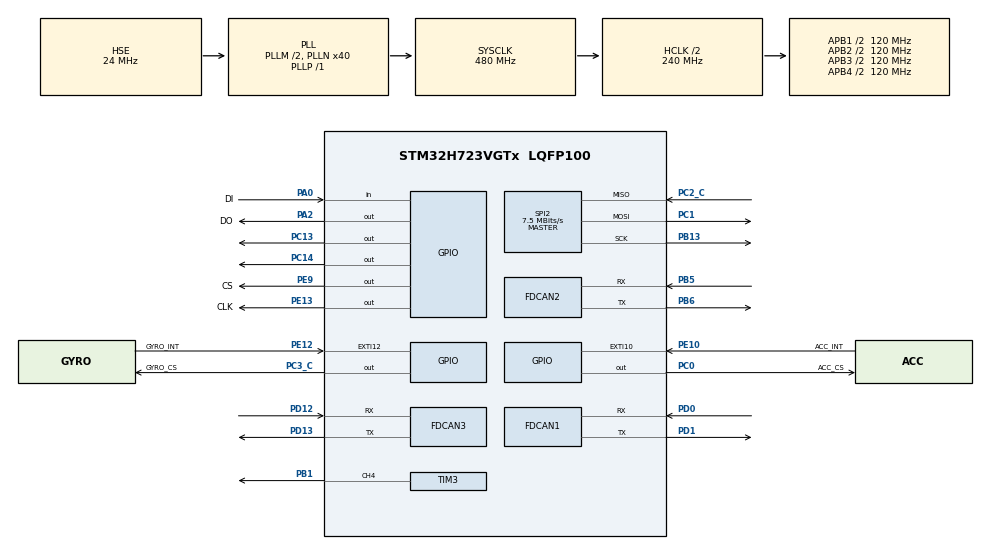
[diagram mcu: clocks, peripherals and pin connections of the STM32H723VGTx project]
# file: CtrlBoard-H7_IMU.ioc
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Dma.Request0=SPI2_RX
Dma.Request1=SPI2_TX
Dma.SPI2_RX.0.Direction=DMA_PERIPH_TO_MEMORY
Dma.SPI2_RX.0.EventEnable=DISABLE
Dma.SPI2_RX.0.FIFOMode=DMA_FIFOMODE_DISABLE
Dma.SPI2_RX.0.Instance=DMA1_Stream0
Dma.SPI2_RX.0.MemDataAlignment=DMA_MDATAALIGN_BYTE
Dma.SPI2_RX.0.MemInc=DMA_MINC_ENABLE
Dma.SPI2_RX.0.Mode=DMA_NORMAL
Dma.SPI2_RX.0.PeriphDataAlignment=DMA_PDATAALIGN_BYTE
Dma.SPI2_RX.0.PeriphInc=DMA_PINC_DISABLE
Dma.SPI2_RX.0.Polarity=HAL_DMAMUX_REQ_GEN_RISING
Dma.SPI2_RX.0.Priority=DMA_PRIORITY_VERY_HIGH
Dma.SPI2_RX.0.RequestNumber=1
Dma.SPI2_RX.0.SignalID=NONE
Dma.SPI2_RX.0.SyncEnable=DISABLE
Dma.SPI2_RX.0.SyncPolarity=HAL_DMAMUX_SYNC_NO_EVENT
Dma.SPI2_RX.0.SyncRequestNumber=1
Dma.SPI2_RX.0.SyncSignalID=NONE
Dma.SPI2_TX.1.Direction=DMA_MEMORY_TO_PERIPH
Dma.SPI2_TX.1.EventEnable=DISABLE
Dma.SPI2_TX.1.FIFOMode=DMA_FIFOMODE_DISABLE
Dma.SPI2_TX.1.Instance=DMA1_Stream1
Dma.SPI2_TX.1.MemDataAlignment=DMA_MDATAALIGN_BYTE
Dma.SPI2_TX.1.MemInc=DMA_MINC_ENABLE
Dma.SPI2_TX.1.Mode=DMA_NORMAL
Dma.SPI2_TX.1.PeriphDataAlignment=DMA_PDATAALIGN_BYTE
Dma.SPI2_TX.1.PeriphInc=DMA_PINC_DISABLE
Dma.SPI2_TX.1.Polarity=HAL_DMAMUX_REQ_GEN_RISING
Dma.SPI2_TX.1.Priority=DMA_PRIORITY_HIGH
Dma.SPI2_TX.1.RequestNumber=1
Dma.SPI2_TX.1.SignalID=NONE
Dma.SPI2_TX.1.SyncEnable=DISABLE
Dma.SPI2_TX.1.SyncPolarity=HAL_DMAMUX_SYNC_NO_EVENT
Dma.SPI2_TX.1.SyncRequestNumber=1
Dma.SPI2_TX.1.SyncSignalID=NONE
FDCAN1.CalculateBaudRateNominal=1000000
FDCAN1.CalculateTimeBitNominal=1000
FDCAN1.CalculateTimeQuantumNominal=40.0
FDCAN1.DataPrescaler=4
FDCAN1.DataTimeSeg1=19
FDCAN1.DataTimeSeg2=5
FDCAN1.ExtFiltersNbr=5
FDCAN1.NominalPrescaler=4
FDCAN1.NominalTimeSeg1=19
FDCAN1.NominalTimeSeg2=5
FDCAN1.RxFifo0ElmtSize=FDCAN_DATA_BYTES_24
FDCAN1.RxFifo0ElmtsNbr=4
FDCAN1.RxFifo1ElmtSize=FDCAN_DATA_BYTES_24
FDCAN1.StdFiltersNbr=5
FDCAN1.TxElmtSize=FDCAN_DATA_BYTES_24
FDCAN1.TxFifoQueueElmtsNbr=8
FDCAN2.CalculateBaudRateNominal=1000000
FDCAN2.CalculateTimeBitNominal=1000
FDCAN2.CalculateTimeQuantumNominal=50.0
FDCAN2.DataPrescaler=5
FDCAN2.DataTimeSeg1=14
FDCAN2.DataTimeSeg2=5
FDCAN2.ExtFiltersNbr=5
FDCAN2.MessageRAMOffset=854
FDCAN2.NominalPrescaler=5
FDCAN2.NominalTimeSeg1=14
FDCAN2.NominalTimeSeg2=5
FDCAN2.RxFifo1ElmtSize=FDCAN_DATA_BYTES_24
FDCAN2.RxFifo1ElmtsNbr=4
FDCAN2.StdFiltersNbr=5
FDCAN2.TxElmtSize=FDCAN_DATA_BYTES_16
FDCAN2.TxFifoQueueElmtsNbr=4
FDCAN3.CalculateBaudRateNominal=1000000
FDCAN3.CalculateTimeBitNominal=1000
FDCAN3.CalculateTimeQuantumNominal=50.0
FDCAN3.DataPrescaler=5
FDCAN3.DataTimeSeg1=14
FDCAN3.DataTimeSeg2=5
FDCAN3.ExtFiltersNbr=5
FDCAN3.MessageRAMOffset=1709
FDCAN3.NominalPrescaler=5
FDCAN3.NominalTimeSeg1=14
FDCAN3.NominalTimeSeg2=5
FDCAN3.RxFifo0ElmtsNbr=2
FDCAN3.StdFiltersNbr=5
FDCAN3.TxFifoQueueElmtsNbr=3
FREERTOS.MEMORY_ALLOCATION=0
FREERTOS.Tasks01=defaultTask,0,128,StartDefaultTask,Default,NULL,Dynamic,NULL,NULL;INS_TASK,3,512,INS_Task,Default,NULL,Dynamic,NULL,NULL;CHASSISR_TASK,1,512,ChassisR_Task,Default,NULL,Dynamic,NULL,NULL;CHASSISL_TASK,1,512,ChassisL_Task,Default,NULL,Dynamic,NULL,NULL;OBSERVE_TASK,2,512,OBSERVE_Task,Default,NULL,Dynamic,NULL,NULL;PS2_TASK,1,128,PS2_Task,Default,NULL,Dynamic,NULL,NULL
FREERTOS.configENABLE_FPU=1
FREERTOS.configTOTAL_HEAP_SIZE=30720
Mcu.Family=STM32H7
Mcu.Name=STM32H723VGTx
Mcu.Package=LQFP100
NVIC.DMA1_Stream0_IRQn=true\:6\:0\:true\:false\:true\:true\:false\:true\:true
NVIC.DMA1_Stream1_IRQn=true\:6\:0\:true\:false\:true\:true\:false\:true\:true
NVIC.FDCAN1_IT0_IRQn=true\:6\:0\:true\:false\:true\:true\:true\:true\:true
NVIC.FDCAN2_IT0_IRQn=true\:5\:0\:true\:false\:true\:true\:true\:true\:true
NVIC.FDCAN3_IT0_IRQn=true\:5\:0\:false\:false\:true\:true\:true\:true\:true
NVIC.PriorityGroup=NVIC_PRIORITYGROUP_4
NVIC.SPI2_IRQn=true\:5\:0\:true\:false\:true\:true\:false\:true\:true
NVIC.TIM2_IRQn=true\:15\:0\:false\:false\:true\:false\:false\:true\:true
NVIC.TimeBase=TIM2_IRQn
NVIC.TimeBaseIP=TIM2
PA0.GPIO_Label=DI
PA0.GPIO_PuPd=GPIO_PULLUP
PA0.Signal=GPIO_Input
PA13(JTMS/SWDIO).Mode=Serial_Wire
PA13(JTMS/SWDIO).Signal=DEBUG_JTMS-SWDIO
PA14(JTCK/SWCLK).Mode=Serial_Wire
PA14(JTCK/SWCLK).Signal=DEBUG_JTCK-SWCLK
PA2.GPIO_Label=DO
PA2.GPIO_PuPd=GPIO_PULLUP
PA2.GPIO_Speed=GPIO_SPEED_FREQ_VERY_HIGH
PA2.PinState=GPIO_PIN_SET
PA2.Signal=GPIO_Output
PB1.Signal=S_TIM3_CH4
PB13.GPIO_Speed=GPIO_SPEED_FREQ_VERY_HIGH
PB13.Mode=Full_Duplex_Master
PB13.Signal=SPI2_SCK
PB5.Mode=FDCAN_Activate
PB5.Signal=FDCAN2_RX
PB6.Mode=FDCAN_Activate
PB6.Signal=FDCAN2_TX
PC0.GPIO_Label=ACC_CS
PC0.GPIO_Speed=GPIO_SPEED_FREQ_VERY_HIGH
PC0.PinState=GPIO_PIN_SET
PC0.Signal=GPIO_Output
PC1.GPIO_Speed=GPIO_SPEED_FREQ_VERY_HIGH
PC1.Mode=Full_Duplex_Master
PC1.Signal=SPI2_MOSI
PC13.Signal=GPIO_Output
PC14-OSC32_IN.Signal=GPIO_Output
PC2_C.GPIO_Speed=GPIO_SPEED_FREQ_VERY_HIGH
PC2_C.Mode=Full_Duplex_Master
PC2_C.Signal=SPI2_MISO
PC3_C.GPIO_Label=GYRO_CS
PC3_C.GPIO_Speed=GPIO_SPEED_FREQ_VERY_HIGH
PC3_C.PinState=GPIO_PIN_SET
PC3_C.Signal=GPIO_Output
PD0.Mode=FDCAN_Activate
PD0.Signal=FDCAN1_RX
PD1.Mode=FDCAN_Activate
PD1.Signal=FDCAN1_TX
PD12.Mode=FDCAN_Activate
PD12.Signal=FDCAN3_RX
PD13.Mode=FDCAN_Activate
PD13.Signal=FDCAN3_TX
PE10.GPIO_Label=ACC_INT
PE10.Signal=GPXTI10
PE12.GPIO_Label=GYRO_INT
PE12.Signal=GPXTI12
PE13.GPIO_Label=CLK
PE13.GPIO_PuPd=GPIO_PULLUP
PE13.GPIO_Speed=GPIO_SPEED_FREQ_VERY_HIGH
PE13.PinState=GPIO_PIN_SET
PE13.Signal=GPIO_Output
PE9.GPIO_Label=CS
PE9.GPIO_PuPd=GPIO_PULLUP
PE9.GPIO_Speed=GPIO_SPEED_FREQ_VERY_HIGH
PE9.PinState=GPIO_PIN_SET
PE9.Signal=GPIO_Output
PH0-OSC_IN.Mode=HSE-External-Oscillator
PH0-OSC_IN.Signal=RCC_OSC_IN
PH1-OSC_OUT.Mode=HSE-External-Oscillator
PH1-OSC_OUT.Signal=RCC_OSC_OUT
ProjectManager.HeapSize=0x200
ProjectManager.StackSize=0x800
ProjectManager.TargetToolchain=STM32CubeIDE
RCC.ADCFreq_Value=100000000
RCC.APB1Freq_Value=120000000
RCC.APB2Freq_Value=120000000
RCC.APB3Freq_Value=120000000
RCC.APB4Freq_Value=120000000
RCC.CortexFreq_Value=480000000
RCC.D1PPRE=RCC_APB3_DIV2
RCC.D2PPRE1=RCC_APB1_DIV2
RCC.D2PPRE2=RCC_APB2_DIV2
RCC.D3PPRE=RCC_APB4_DIV2
RCC.DIVM1=2
RCC.DIVM2=24
RCC.DIVN1=40
RCC.DIVN2=200
RCC.DIVP1=1
RCC.FDCANCLockSelection=RCC_FDCANCLKSOURCE_PLL2
RCC.HCLKFreq_Value=240000000
RCC.HPRE=RCC_HCLK_DIV2
RCC.HSE_VALUE=24000000
RCC.PLL2FRACN=0
RCC.PLL3FRACN=0
RCC.PLLFRACN=0
RCC.PLLSourceVirtual=RCC_PLLSOURCE_HSE
RCC.SYSCLKFreq_VALUE=480000000
RCC.SYSCLKSource=RCC_SYSCLKSOURCE_PLLCLK
RCC.USBFreq_Value=240000000
SH.S_TIM3_CH4.0=TIM3_CH4,PWM Generation4 CH4
SPI2.BaudRatePrescaler=SPI_BAUDRATEPRESCALER_32
SPI2.CLKPhase=SPI_PHASE_2EDGE
SPI2.CLKPolarity=SPI_POLARITY_HIGH
SPI2.CalculateBaudRate=7.5 MBits/s
SPI2.DataSize=SPI_DATASIZE_8BIT
SPI2.Direction=SPI_DIRECTION_2LINES
SPI2.Mode=SPI_MODE_MASTER
SPI2.VirtualType=VM_MASTER
TIM3.AutoReloadPreload=TIM_AUTORELOAD_PRELOAD_ENABLE
TIM3.Channel-PWM\ Generation4\ CH4=TIM_CHANNEL_4
TIM3.Period=10000-1
TIM3.Prescaler=24-1
VP_FREERTOS_VS_CMSIS_V1.Mode=CMSIS_V1
VP_SYS_VS_tim2.Mode=TIM2
board=custom

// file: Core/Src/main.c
/* USER CODE BEGIN Header */
/**
  ******************************************************************************
  * @file           : main.c
  * @brief          : Main program body
  ******************************************************************************
  * @attention
  *
  * Copyright (c) 2024 STMicroelectronics.
  * All rights reserved.
  *
  * This software is licensed under terms that can be found in the LICENSE file
  * in the root directory of this software component.
  * If no LICENSE file comes with this software, it is provided AS-IS.
  *
  ******************************************************************************
  */
/* USER CODE END Header */
#include "main.h"
#include "cmsis_os.h"
#include "dma.h"
#include "fdcan.h"
#include "spi.h"
#include "tim.h"
#include "gpio.h"

/* USER CODE BEGIN Includes */
#include "BMI088driver.h"
#include "kalman_filter.h"
#include "mahony_filter.h"
#include "bsp_dwt.h"
#include "BMI088Middleware.h"
#include "can_bsp.h"
/* USER CODE END Includes */

void SystemClock_Config(void);
void PeriphCommonClock_Config(void);
void MX_FREERTOS_Init(void);

int main(void)
{

  /* MCU Configuration--------------------------------------------------------*/

  /* Reset of all peripherals, Initializes the Flash interface and the Systick. */
  HAL_Init();

  /* Configure the system clock */
  SystemClock_Config();

/* Configure the peripherals common clocks */
  PeriphCommonClock_Config();

  /* Initialize all configured peripherals */
  MX_GPIO_Init();
  MX_DMA_Init();
  MX_SPI2_Init();
  MX_FDCAN1_Init();
  MX_FDCAN2_Init();
  MX_TIM3_Init();
  MX_FDCAN3_Init();
  /* USER CODE BEGIN 2 */
    DWT_Init(480);

    /* BMI088初始化 *///之前已经对角速度和加速度的零飘校准过了，所以之后上电就不需要校准。如果硬件设备更换，则需要重新校准下
    while (BMI088_init(&hspi2, 0) != BMI088_NO_ERROR)
    {
        ;
    }
    Power_OUT1_ON;//imu初始化完成，可控电源打开，led灯亮
    Power_OUT2_ON;

    FDCAN1_Config();//can过滤器初始化
    FDCAN2_Config();
  /* USER CODE END 2 */

  /* Call init function for freertos objects (in freertos.c) */
  MX_FREERTOS_Init();

  /* Start scheduler */
  osKernelStart();

  /* We should never get here as control is now taken by the scheduler */
  /* Infinite loop */
  while (1)
  {

  }
}

void SystemClock_Config(void)
{
  RCC_OscInitTypeDef RCC_OscInitStruct = {0};
  RCC_ClkInitTypeDef RCC_ClkInitStruct = {0};

  /** Supply configuration update enable
  */
  HAL_PWREx_ConfigSupply(PWR_LDO_SUPPLY);

  /** Configure the main internal regulator output voltage
  */
  __HAL_PWR_VOLTAGESCALING_CONFIG(PWR_REGULATOR_VOLTAGE_SCALE0);

  while(!__HAL_PWR_GET_FLAG(PWR_FLAG_VOSRDY)) {}

  /** Initializes the RCC Oscillators according to the specified parameters
  * in the RCC_OscInitTypeDef structure.
  */
  RCC_OscInitStruct.OscillatorType = RCC_OSCILLATORTYPE_HSE;
  RCC_OscInitStruct.HSEState = RCC_HSE_ON;
  RCC_OscInitStruct.PLL.PLLState = RCC_PLL_ON;
  RCC_OscInitStruct.PLL.PLLSource = RCC_PLLSOURCE_HSE;
  RCC_OscInitStruct.PLL.PLLM = 2;
  RCC_OscInitStruct.PLL.PLLN = 40;
  RCC_OscInitStruct.PLL.PLLP = 1;
  RCC_OscInitStruct.PLL.PLLQ = 2;
  RCC_OscInitStruct.PLL.PLLR = 2;
  RCC_OscInitStruct.PLL.PLLRGE = RCC_PLL1VCIRANGE_3;
  RCC_OscInitStruct.PLL.PLLVCOSEL = RCC_PLL1VCOWIDE;
  RCC_OscInitStruct.PLL.PLLFRACN = 0;
  if (HAL_RCC_OscConfig(&RCC_OscInitStruct) != HAL_OK)
  {
    Error_Handler();
  }

  /** Initializes the CPU, AHB and APB buses clocks
  */
  RCC_ClkInitStruct.ClockType = RCC_CLOCKTYPE_HCLK|RCC_CLOCKTYPE_SYSCLK
                              |RCC_CLOCKTYPE_PCLK1|RCC_CLOCKTYPE_PCLK2
                              |RCC_CLOCKTYPE_D3PCLK1|RCC_CLOCKTYPE_D1PCLK1;
  RCC_ClkInitStruct.SYSCLKSource = RCC_SYSCLKSOURCE_PLLCLK;
  RCC_ClkInitStruct.SYSCLKDivider = RCC_SYSCLK_DIV1;
  RCC_ClkInitStruct.AHBCLKDivider = RCC_HCLK_DIV2;
  RCC_ClkInitStruct.APB3CLKDivider = RCC_APB3_DIV2;
  RCC_ClkInitStruct.APB1CLKDivider = RCC_APB1_DIV2;
  RCC_ClkInitStruct.APB2CLKDivider = RCC_APB2_DIV2;
  RCC_ClkInitStruct.APB4CLKDivider = RCC_APB4_DIV2;

  if (HAL_RCC_ClockConfig(&RCC_ClkInitStruct, FLASH_LATENCY_3) != HAL_OK)
  {
    Error_Handler();
  }
}

void PeriphCommonClock_Config(void)
{
  RCC_PeriphCLKInitTypeDef PeriphClkInitStruct = {0};

  /** Initializes the peripherals clock
  */
  PeriphClkInitStruct.PeriphClockSelection = RCC_PERIPHCLK_FDCAN;
  PeriphClkInitStruct.PLL2.PLL2M = 24;
  PeriphClkInitStruct.PLL2.PLL2N = 200;
  PeriphClkInitStruct.PLL2.PLL2P = 2;
  PeriphClkInitStruct.PLL2.PLL2Q = 2;
  PeriphClkInitStruct.PLL2.PLL2R = 2;
  PeriphClkInitStruct.PLL2.PLL2RGE = RCC_PLL2VCIRANGE_0;
  PeriphClkInitStruct.PLL2.PLL2VCOSEL = RCC_PLL2VCOMEDIUM;
  PeriphClkInitStruct.PLL2.PLL2FRACN = 0;
  PeriphClkInitStruct.FdcanClockSelection = RCC_FDCANCLKSOURCE_PLL2;
  if (HAL_RCCEx_PeriphCLKConfig(&PeriphClkInitStruct) != HAL_OK)
  {
    Error_Handler();
  }
}

void HAL_TIM_PeriodElapsedCallback(TIM_HandleTypeDef *htim)
{
  if (htim->Instance == TIM2) {
    HAL_IncTick();
  }
}

void Error_Handler(void)
{
  __disable_irq();
  while (1)
  {
  }
}

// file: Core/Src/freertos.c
/* USER CODE BEGIN Header */
/**
  ******************************************************************************
  * File Name          : freertos.c
  * Description        : Code for freertos applications
  ******************************************************************************
  * @attention
  *
  * Copyright (c) 2024 STMicroelectronics.
  * All rights reserved.
  *
  * This software is licensed under terms that can be found in the LICENSE file
  * in the root directory of this software component.
  * If no LICENSE file comes with this software, it is provided AS-IS.
  *
  ******************************************************************************
  */
/* USER CODE END Header */

#include "FreeRTOS.h"
#include "task.h"
#include "main.h"
#include "cmsis_os.h"

/* USER CODE BEGIN Includes */
#include "INS_task.h"
#include "chassisR_task.h"
#include "chassisL_task.h"
#include "observe_task.h"
#include "ps2_task.h"
#include "Extended_PID.h"
/* USER CODE END Includes */

/* USER CODE BEGIN Variables */
osThreadId ExtendedPIDTaskHandle;
/* USER CODE END Variables */
osThreadId defaultTaskHandle;
osThreadId INS_TASKHandle;
osThreadId CHASSISR_TASKHandle;
osThreadId CHASSISL_TASKHandle;
osThreadId OBSERVE_TASKHandle;
osThreadId PS2_TASKHandle;

/* USER CODE BEGIN FunctionPrototypes */
void ExtendedPID_Task(void const * argument);
/* USER CODE END FunctionPrototypes */

void StartDefaultTask(void const * argument);
void INS_Task(void const * argument);
void ChassisR_Task(void const * argument);
void ChassisL_Task(void const * argument);
void OBSERVE_Task(void const * argument);
void PS2_Task(void const * argument);

void MX_FREERTOS_Init(void); /* (MISRA C 2004 rule 8.1) */

void MX_FREERTOS_Init(void) {

    /* Create the thread(s) */
    /* definition and creation of defaultTask */
    osThreadDef(defaultTask, StartDefaultTask, osPriorityNormal, 0, 128);
    defaultTaskHandle = osThreadCreate(osThread(defaultTask), NULL);

    /* definition and creation of INS_TASK */
    osThreadDef(INS_TASK, INS_Task, osPriorityRealtime, 0, 512);
    INS_TASKHandle = osThreadCreate(osThread(INS_TASK), NULL);

    /* definition and creation of CHASSISR_TASK */
    // osThreadDef(CHASSISR_TASK, ChassisR_Task, osPriorityAboveNormal, 0, 512);
    // CHASSISR_TASKHandle = osThreadCreate(osThread(CHASSISR_TASK), NULL);

    /* definition and creation of CHASSISL_TASK */
    // osThreadDef(CHASSISL_TASK, ChassisL_Task, osPriorityAboveNormal, 0, 512);
    // CHASSISL_TASKHandle = osThreadCreate(osThread(CHASSISL_TASK), NULL);

    /* definition and creation of OBSERVE_TASK */
    // osThreadDef(OBSERVE_TASK, OBSERVE_Task, osPriorityHigh, 0, 512);
    // OBSERVE_TASKHandle = osThreadCreate(osThread(OBSERVE_TASK), NULL);

    /* definition and creation of PS2_TASK */
    // osThreadDef(PS2_TASK, PS2_Task, osPriorityAboveNormal, 0, 128);
    // PS2_TASKHandle = osThreadCreate(osThread(PS2_TASK), NULL);

    /* USER CODE BEGIN RTOS_THREADS */
    /* add threads, ... */
    osThreadDef(ExtendedPID_TASK, ExtendedPID_Task, osPriorityAboveNormal, 0, 512);
    ExtendedPIDTaskHandle = osThreadCreate(osThread(ExtendedPID_TASK), NULL);
    /* USER CODE END RTOS_THREADS */

}

void StartDefaultTask(void const * argument)
{
    for(;;)
    {
        osDelay(1);
    }
}

void INS_Task(void const * argument)
{
    /* USER CODE BEGIN INS_Task */

    /* Infinite loop */
    for(;;)
    {
        INS_task();
    }
    /* USER CODE END INS_Task */
}

void ChassisR_Task(void const * argument)
{
    /* USER CODE BEGIN ChassisR_Task */
    /* Infinite loop */
    for(;;)
    {
        ChassisR_task();
    }
    /* USER CODE END ChassisR_Task */
}

void ChassisL_Task(void const * argument)
{
    /* USER CODE BEGIN ChassisL_Task */
    /* Infinite loop */
    for(;;)
    {
        ChassisL_task();
    }
    /* USER CODE END ChassisL_Task */
}

void OBSERVE_Task(void const * argument)
{
    /* USER CODE BEGIN OBSERVE_Task */
    /* Infinite loop */
    for(;;)
    {
        Observe_task();
    }
    /* USER CODE END OBSERVE_Task */
}

void PS2_Task(void const * argument)
{
    /* USER CODE BEGIN PS2_Task */
    /* Infinite loop */
    for(;;)
    {
        pstwo_task();
    }
    /* USER CODE END PS2_Task */
}

/* USER CODE BEGIN Application */
void ExtendedPID_Task(void const * argument)
{
    for(;;)
    {
        Extended_PID_task();
    }
}
/* USER CODE END Application */
